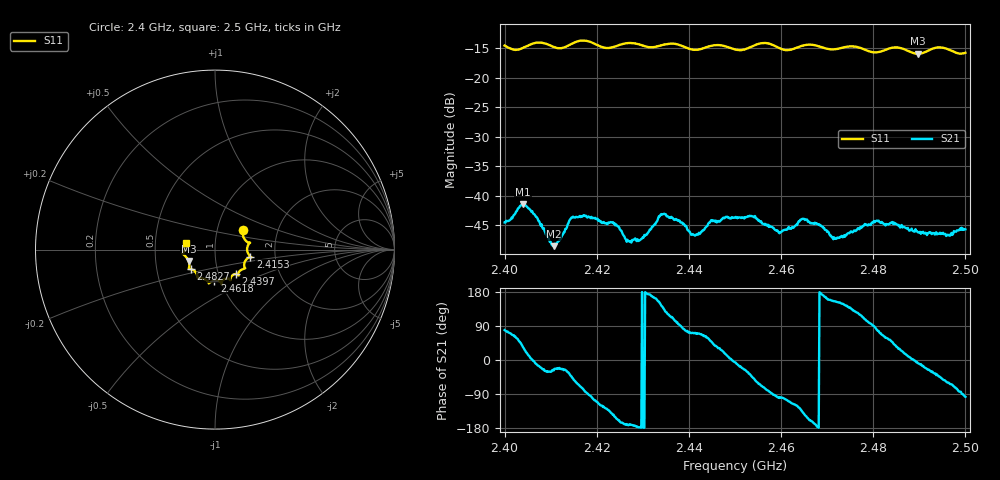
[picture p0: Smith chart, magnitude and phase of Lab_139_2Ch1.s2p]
# Hz S RI R 50
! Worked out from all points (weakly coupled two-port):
!   601 points, 2.4 GHz to 2.5 GHz, reference 50 ohm
!   highest |S21| = -41.34 dB at 2.404 GHz (marker M1); lowest = -48.5 dB at 2.4107 GHz (marker M2)
!   lowest |S11| = -15.9 dB at 2.4897 GHz (marker M3), VSWR 1.38, Z = 36.9 - j4.81 ohm
!   |S11| at or under -10 dB: start of sweep to end of sweep
!   S12 and S22 are empty: the file has one direction only
!   S11 on the Smith chart (normalised r, x): 2.4 GHz: 1.33, +0.29; 2.4153 GHz: 1.49, -0.12; 2.4397 GHz: 1.21, -0.34; 2.4618 GHz: 0.94, -0.33; 2.4827 GHz: 0.75, -0.17; 2.5 GHz: 0.72, +0.06
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2.4e9  0.1549 0.1068  0.00114 0.00586  0 0  0 0
2.404e9  0.1734 0.0474  0.00713 0.00475  0 0  0 0
2.410667e9  0.1821 0.0195  0.00333 -0.00174  0 0  0 0
2.415333e9  0.1973 -0.0391  0.00364 -0.00545  0 0  0 0
2.416667e9  0.2032 -0.0432  0.00205 -0.00642  0 0  0 0
2.423667e9  0.1626 -0.0847  -0.00476 -0.00338  0 0  0 0
2.427e9  0.1684 -0.1041  -0.00408 -0.000636  0 0  0 0
2.429667e9  0.1559 -0.1089  -0.00433 -0.000108  0 0  0 0
2.433333e9  0.1295 -0.1339  -0.00587 0.00278  0 0  0 0
2.4345e9  0.1287 -0.1416  -0.00501 0.00493  0 0  0 0
2.439667e9  0.1167 -0.1357  0.00119 0.00504  0 0  0 0
2.4415e9  0.0995 -0.1418  0.00161 0.00439  0 0  0 0
2.444833e9  0.084 -0.1676  0.00409 0.00471  0 0  0 0
2.45e9  0.0654 -0.1619  0.00651 -0.000676  0 0  0 0
2.456333e9  0.039 -0.1941  0.00167 -0.00548  0 0  0 0
2.461833e9  -0.00295 -0.1729  -0.0018 -0.00496  0 0  0 0
2.466667e9  -0.0348 -0.1882  -0.00555 -0.00184  0 0  0 0
2.471833e9  -0.0683 -0.1617  -0.00391 0.00185  0 0  0 0
2.482667e9  -0.135 -0.1088  0.00295 0.00479  0 0  0 0
2.483333e9  -0.1402 -0.1084  0.00335 0.00466  0 0  0 0
2.489667e9  -0.1471 -0.0635  0.00488 -0.000697  0 0  0 0
2.5e9  -0.1591 0.0385  -0.000661 -0.00518  0 0  0 0
